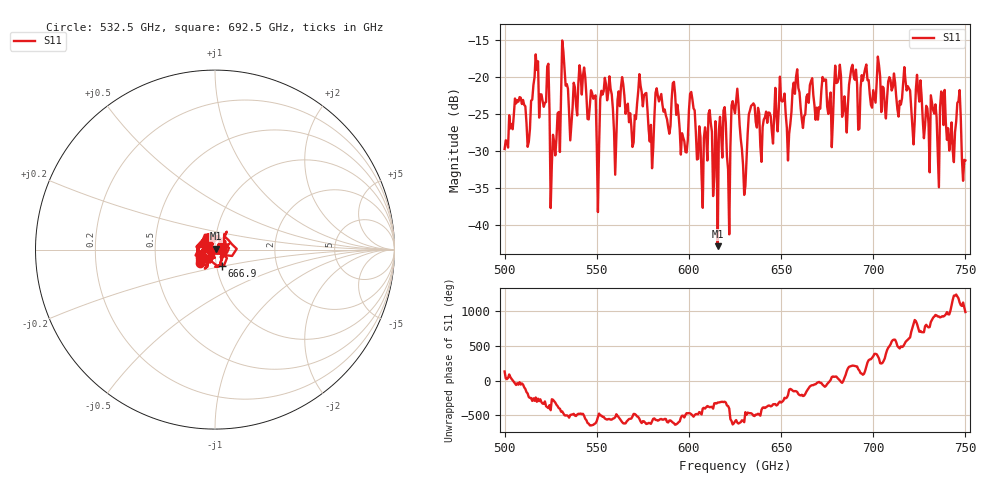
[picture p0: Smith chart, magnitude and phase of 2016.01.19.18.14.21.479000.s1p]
!Created with skrf (http://scikit-rf.org).
# GHz S RI R 50.0
!freq ReS11 ImS11
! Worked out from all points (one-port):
!   401 points, 500 GHz to 750 GHz, reference 50 ohm
!   lowest |S11| = -42.8 dB at 615.6 GHz (marker M1), VSWR 1.01, Z = 50.5 + j0.518 ohm
!   |S11| at or under -10 dB: start of sweep to end of sweep
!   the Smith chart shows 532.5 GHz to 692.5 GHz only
!   S11 on the Smith chart (normalised r, x): 532.5 GHz: 0.83, -0.13; 666.9 GHz: 1.06, -0.19; 692.5 GHz: 0.93, +0.05
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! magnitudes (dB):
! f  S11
! 500 GHz  -29.7
! 513.1 GHz  -28.7
! 516.9 GHz  -16.9
! 523.1 GHz  -18.6
! 526.2 GHz  -27.8
! 531.2 GHz  -15.1
! 532.5 GHz  -18.9
! 550 GHz  -29.1
! 553.8 GHz  -21.9
! 560 GHz  -33.2
! 562.5 GHz  -23.9
! 574.4 GHz  -22.0
! 579.4 GHz  -26.4
! 583.1 GHz  -22.5
! 593.8 GHz  -23.7
! 615.6 GHz  -42.8
! 621.2 GHz  -32.4
! 625 GHz  -24.9
! 630 GHz  -35.9
! 634.4 GHz  -23.7
! 656.2 GHz  -21.8
! 666.9 GHz  -20.2
! 687.5 GHz  -19.9
! 692.5 GHz  -27.0
! 718.8 GHz  -21.2
! 742.5 GHz  -26.1
! 746.2 GHz  -23.3
! 750 GHz  -31.2
